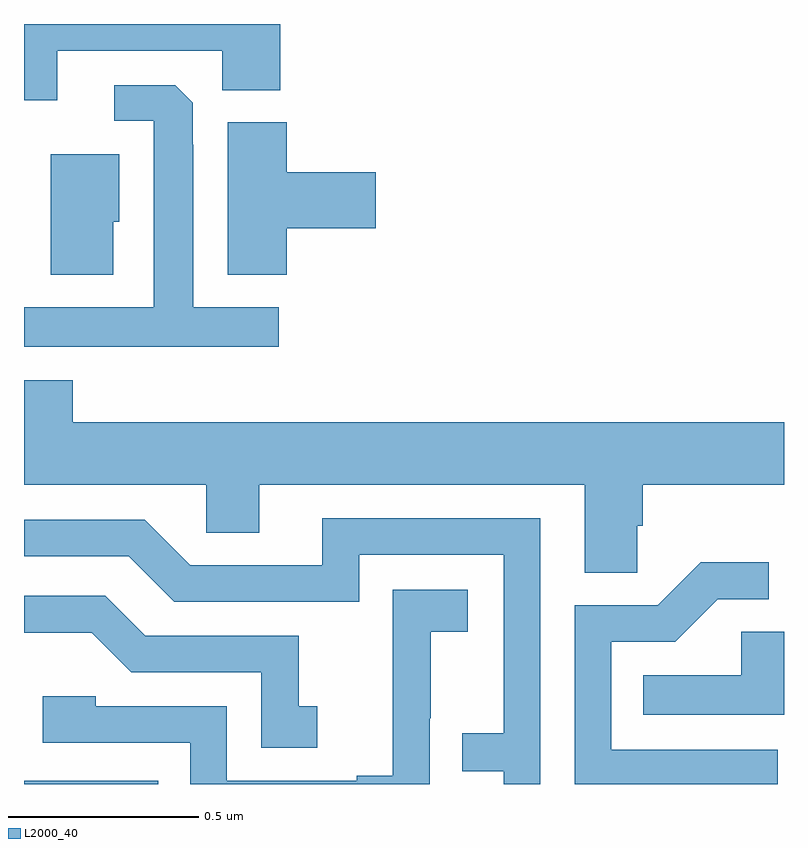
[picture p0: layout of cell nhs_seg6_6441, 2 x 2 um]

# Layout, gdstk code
import gdstk
lib = gdstk.Library(unit=1e-6, precision=1e-09)
def R(c, l, rs):  # rectangles x0, y0, x1, y1
    for r in rs: c.add(gdstk.rectangle(r[:2], r[2:], *l))
def P(c, l, *ps):  # polygons
    for p in ps: c.add(gdstk.Polygon(p, *l))
L2000_40 = (2000, 40)

nhs_seg6_6441 = lib.new_cell('nhs_seg6_6441')
R(nhs_seg6_6441, L2000_40, [(195,994.5,195.353,994.509)])
P(nhs_seg6_6441, L2000_40, [(195.088,996.429),(195.522,996.429),(195.522,996.326),(195.674,996.326),(195.674,996.5),(195,996.5),(195,996.3),(195.088,996.3)],
  [(195.67,995.755),(195.445,995.755),(195.445,996.182),(195.444,996.182),(195.444,996.293),(195.398,996.339),(195.237,996.339),(195.237,996.246),(195.341,996.246),(195.341,995.755),(195,995.755),(195,995.651),(195.67,995.651)],
  [(195.692,995.963),(195.925,995.963),(195.925,996.11),(195.692,996.11),(195.692,996.241),(195.536,996.241),(195.536,995.84),(195.692,995.84)],
  [(195.235,995.979),(195.25,995.979),(195.25,996.157),(195.071,996.157),(195.071,995.84),(195.235,995.84)],
  [(196.614,995.179),(196.628,995.179),(196.628,995.288),(197,995.288),(197,995.452),(195.128,995.452),(195.128,995.563),(195,995.563),(195,995.288),(195.48,995.288),(195.48,995.161),(195.619,995.161),(195.619,995.288),(196.475,995.288),(196.475,995.056),(196.614,995.056)],
  [(196.359,995.199),(195.785,995.199),(195.785,995.076),(195.438,995.076),(195.318,995.196),(195,995.196),(195,995.1),(195.276,995.1),(195.396,994.98),(195.882,994.98),(195.882,995.103),(196.263,995.103),(196.263,994.634),(196.153,994.634),(196.153,994.533),(196.263,994.533),(196.263,994.5),(196.359,994.5)],
  [(196.984,994.59),(196.545,994.59),(196.545,994.875),(196.714,994.875),(196.825,994.986),(196.96,994.986),(196.96,995.084),(196.781,995.084),(196.668,994.971),(196.449,994.971),(196.449,994.5),(196.984,994.5)],
  [(196.068,994.673),(196.07,994.673),(196.07,994.901),(196.168,994.901),(196.168,995.011),(195.97,995.011),(195.97,994.805),(195.971,994.805),(195.971,994.522),(195.875,994.522),(195.875,994.509),(195.534,994.509),(195.534,994.704),(195.189,994.704),(195.189,994.731),(195.049,994.731),(195.049,994.608),(195.438,994.608),(195.438,994.5),(196.068,994.5)],
  [(195.772,994.705),(195.723,994.705),(195.723,994.89),(195.319,994.89),(195.214,994.995),(195,994.995),(195,994.898),(195.178,994.898),(195.282,994.794),(195.624,994.794),(195.624,994.596),(195.772,994.596)],
  [(197,994.901),(196.887,994.901),(196.887,994.786),(196.63,994.786),(196.63,994.682),(197,994.682)])

lib.write_gds('nhs_seg6_6441.gds')
